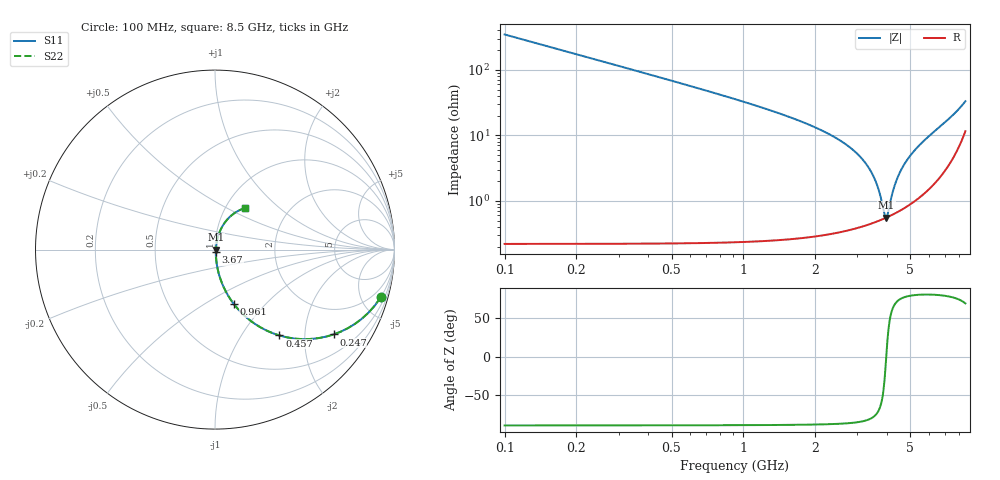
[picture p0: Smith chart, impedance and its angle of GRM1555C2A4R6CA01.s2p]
!Murata Part Number: GRM1555C2A4R6CA01
!These Parameters are Measured in Series Mode Connection
!Data Generated on Mar 30, 2021
!  o--ll--o
!Port1  Port2
!  o------o
!Operation Temp=25[degC], DC Bias Voltage=0[V]
!Freq. Start=100[MHz] Stop=9[GHz] 401[Steps]
# Hz S RI R 50
!Freq.(Hz) S11(Real) S11(Imag) S21(Real) S21(Imag) S12(Real) S12(Imag) S22(Real) S22(Imag)
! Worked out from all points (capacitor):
!   401 points, 100 MHz to 8.5 GHz, reference 50 ohm
!   read as one part in series: C = 4.6 pF near 142 MHz
!   lowest |Z| = 554 mohm at 3.964 GHz (marker M1)
!   series resonance near 3.963 GHz, so ESL is about 350 pH
!   S11 on the Smith chart (normalised r, x): 100 MHz: 1.00, -6.92; 247 MHz: 1.00, -2.79; 457 MHz: 1.00, -1.50; 961 MHz: 1.00, -0.68; 3.67 GHz: 1.01, -0.03; 8.5 GHz: 1.23, +0.62
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1e8  0.9227 -0.2668  0.0773 0.2668  0.0773 0.2668  0.9227 -0.2668
2.47e8  0.6606 -0.4727  0.3394 0.4727  0.3394 0.4727  0.6606 -0.4727
3.31e8  0.5189 -0.4986  0.4811 0.4986  0.4811 0.4986  0.5189 -0.4986
4.57e8  0.3591 -0.4782  0.6409 0.4782  0.6409 0.4782  0.3591 -0.4782
6.67e8  0.2045 -0.4011  0.7955 0.4011  0.7955 0.4011  0.2045 -0.4011
9.61e8  0.1056 -0.3039  0.8944 0.3039  0.8944 0.3039  0.1056 -0.3039
1.507e9  0.0403 -0.1904  0.9597 0.1904  0.9597 0.1904  0.0403 -0.1904
2.914e9  0.00697 -0.0567  0.993 0.0567  0.993 0.0567  0.00697 -0.0567
3.355e9  0.00531 -0.031  0.9947 0.031  0.9947 0.031  0.00531 -0.031
3.523e9  0.00512 -0.022  0.9949 0.022  0.9949 0.022  0.00512 -0.022
3.67e9  0.00511 -0.0144  0.9949 0.0144  0.9949 0.0144  0.00511 -0.0144
3.901e9  0.00538 -0.003  0.9946 0.003  0.9946 0.003  0.00538 -0.003
3.964e9  0.00551 4.36e-05  0.9945 -4.36e-05  0.9945 -4.36e-05  0.00551 4.36e-05
4.027e9  0.00567 0.00306  0.9943 -0.00306  0.9943 -0.00306  0.00567 0.00306
4.174e9  0.00612 0.00999  0.9939 -0.00999  0.9939 -0.00999  0.00612 0.00999
4.3e9  0.00661 0.0158  0.9934 -0.0158  0.9934 -0.0158  0.00661 0.0158
4.531e9  0.00775 0.0264  0.9923 -0.0264  0.9923 -0.0264  0.00775 0.0264
4.825e9  0.00966 0.0396  0.9903 -0.0396  0.9903 -0.0396  0.00966 0.0396
5.203e9  0.013 0.0565  0.987 -0.0565  0.987 -0.0565  0.013 0.0565
5.707e9  0.0191 0.0795  0.9809 -0.0795  0.9809 -0.0795  0.0191 0.0795
7.114e9  0.055 0.1512  0.945 -0.1512  0.945 -0.1512  0.055 0.1512
8.5e9  0.168 0.2316  0.832 -0.2316  0.832 -0.2316  0.168 0.2316
